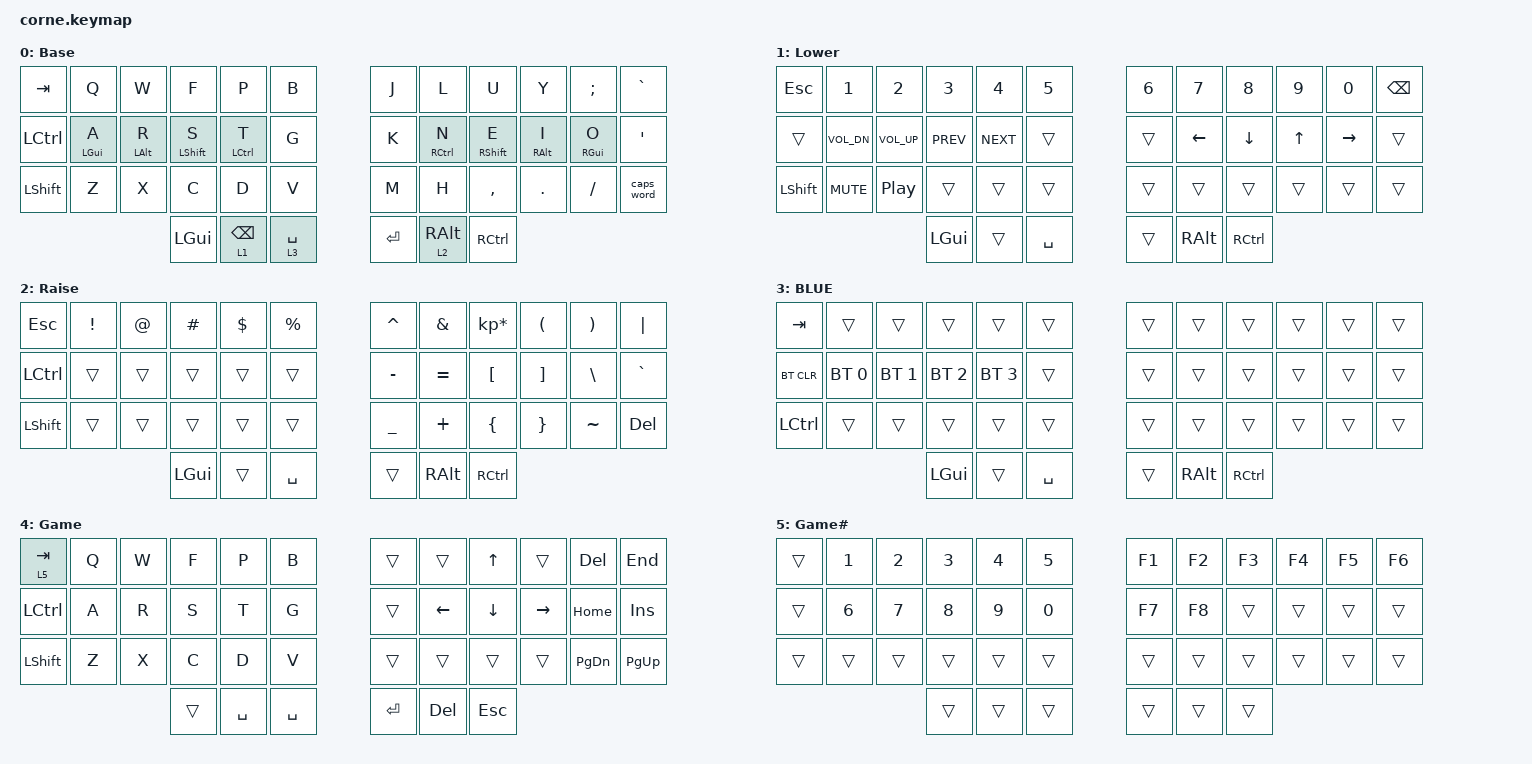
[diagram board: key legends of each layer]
/*
 * Copyright (c) 2020 The ZMK Contributors
 *
 * SPDX-License-Identifier: MIT
 */
#include <behaviors.dtsi>
#include <dt-bindings/zmk/keys.h>
#include <dt-bindings/zmk/bt.h>
#include "zmk-helpers/helper.h"
#define KEYS_L 0 1 2 3 4 5 12 13 14 15 16 17 24 25 26 27 28 29
#define KEYS_R 6 7 8 9 10 11 18 19 20 21 22 23 30 31 32 33 34 35
#define THUMBS 36 37 38 39 40 41
#define TAPPING_TERM 280
#define QUICK_TAP 175
#define PRIOR_IDLE 150
/* ---------------- Home Row Mods ---------------- */
ZMK_HOLD_TAP(hm,
    flavor = "balanced";
    tapping-term-ms = <TAPPING_TERM>;
    quick-tap-ms = <QUICK_TAP>;
    require-prior-idle-ms = <PRIOR_IDLE>;
    bindings = <&kp>, <&kp>;
    hold-trigger-key-positions = <KEYS_R THUMBS>;
    hold-trigger-on-release;
)
ZMK_HOLD_TAP(hm_r,
    flavor = "balanced";
    tapping-term-ms = <TAPPING_TERM>;
    quick-tap-ms = <QUICK_TAP>;
    require-prior-idle-ms = <PRIOR_IDLE>;
    bindings = <&kp>, <&kp>;
    hold-trigger-key-positions = <KEYS_L THUMBS>;
    hold-trigger-on-release;
)
/* ---------------- Thumb Layer Tap (urob-style) ---------------- */
ZMK_HOLD_TAP(lt_thumb,
    flavor = "balanced";
    tapping-term-ms = <200>;
    quick-tap-ms = <QUICK_TAP>;
    require-prior-idle-ms = <PRIOR_IDLE>;
    bindings = <&mo>, <&kp>;
    hold-trigger-on-release;
)
/ {
combos {
    compatible = "zmk,combos";
    combo_gaming {
        timeout-ms = <50>;
        key-positions = <38 39>;
        bindings = <&tog 4>;
    };
};
keymap {
compatible = "zmk,keymap";
/* ---------------- Base ---------------- */
default_layer {
display-name = "Base";
bindings = <
&kp TAB     &kp Q        &kp W        &kp F        &kp P        &kp B          &kp J    &kp L         &kp U         &kp Y        &kp SEMI      &kp GRAVE
&kp LCTRL   &hm LGUI A   &hm LALT R   &hm LSHFT S  &hm LCTRL T  &kp G          &kp K    &hm_r RCTRL N &hm_r RSHFT E &hm_r RALT I &hm_r RGUI O  &kp SQT
&kp LSHFT   &kp Z        &kp X        &kp C        &kp D        &kp V          &kp M    &kp H         &kp COMMA     &kp DOT      &kp FSLH      &caps_word
                   &kp LGUI  &lt_thumb 1 BSPC  &lt_thumb 3 SPACE &kp ENTER  &lt_thumb 2 RALT  &kp RCTRL
>;
};
/* ---------------- Lower ---------------- */
lower_layer {
display-name = "Lower";
bindings = <
&kp ESC    &kp N1 &kp N2 &kp N3 &kp N4 &kp N5      &kp N6 &kp N7   &kp N8   &kp N9  &kp N0    &kp BSPC
&trans     &kp C_VOL_DN &kp C_VOL_UP &kp C_PREV &kp C_NEXT &trans      &trans &kp LEFT &kp DOWN &kp UP  &kp RIGHT &trans
&kp LSHFT  &kp C_MUTE &kp C_PP &trans &trans &trans      &trans &trans   &trans   &trans  &trans    &trans
                      &kp LGUI &trans &kp SPACE &trans &kp RALT &kp RCTRL
>;
};
/* ---------------- Raise ---------------- */
raise_layer {
display-name = "Raise";
bindings = <
&kp ESC   &kp EXCL &kp AT &kp HASH &kp DLLR &kp PRCNT     &kp CARET &kp AMPS &kp KP_MULTIPLY &kp LPAR &kp RPAR &kp PIPE
&kp LCTRL &trans   &trans &trans   &trans   &trans        &kp MINUS &kp EQUAL &kp LBKT &kp RBKT &kp BSLH &kp GRAVE
&kp LSHFT &trans   &trans &trans   &trans   &trans        &kp UNDER &kp PLUS &kp LBRC &kp RBRC &kp TILDE &kp DEL
                      &kp LGUI &trans &kp SPACE &trans &kp RALT &kp RCTRL
>;
};
/* ---------------- Bluetooth ---------------- */
bt_layer {
display-name = "BLUE";
bindings = <
&kp TAB    &trans       &trans       &trans       &trans       &trans      &trans &trans &trans &trans &trans &trans
&bt BT_CLR &bt BT_SEL 0 &bt BT_SEL 1 &bt BT_SEL 2 &bt BT_SEL 3 &trans      &trans &trans &trans &trans &trans &trans
&kp LCTRL  &trans       &trans       &trans       &trans       &trans      &trans &trans &trans &trans &trans &trans
                      &kp LGUI &trans &kp SPACE &trans &kp RALT &kp RCTRL
>;
};
/* ---------------- Gaming Base ---------------- */
gaming_layer {
display-name = "Game";
bindings = <
&lt 5 TAB  &kp Q  &kp W  &kp F  &kp P  &kp B      &trans &trans    &kp UP   &trans    &kp DEL  &kp END
&kp LCTRL  &kp A  &kp R  &kp S  &kp T  &kp G      &trans &kp LEFT  &kp DOWN &kp RIGHT &kp HOME &kp INS
&kp LSHFT  &kp Z  &kp X  &kp C  &kp D  &kp V      &trans &trans  &trans  &trans &kp PG_DN &kp PG_UP
                &trans  &kp SPACE  &kp SPACE  &kp ENTER  &kp DEL  &kp ESC
>;
};
/* ---------------- Gaming Numbers ---------------- */
gaming_num_layer {
display-name = "Game#";
bindings = <
&trans  &kp N1  &kp N2  &kp N3  &kp N4  &kp N5      &kp F1  &kp F2  &kp F3  &kp F4  &kp F5  &kp F6
&trans  &kp N6  &kp N7  &kp N8  &kp N9  &kp N0      &kp F7  &kp F8  &trans  &trans  &trans  &trans
&trans  &trans  &trans  &trans  &trans  &trans      &trans  &trans  &trans  &trans  &trans  &trans
                      &trans &trans &trans &trans &trans &trans
>;
};
extra_1 { status = "reserved"; };
extra_2 { status = "reserved"; };
extra_3 { status = "reserved"; };
};
};
